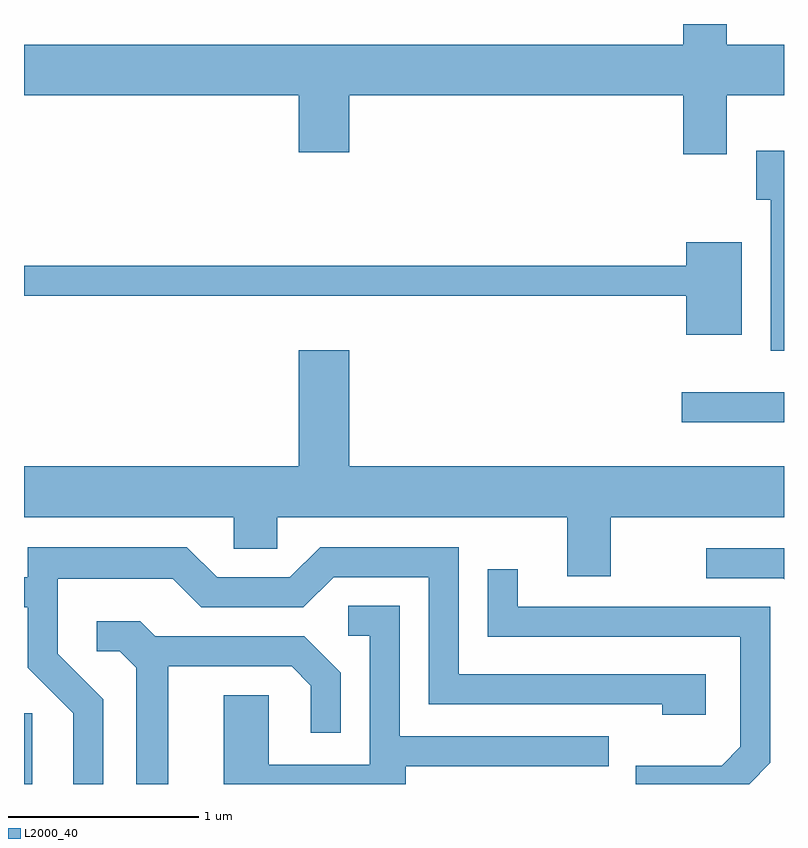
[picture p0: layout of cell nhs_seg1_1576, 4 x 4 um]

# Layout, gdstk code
import gdstk
lib = gdstk.Library(unit=1e-6, precision=1e-09)
def R(c, l, rs):  # rectangles x0, y0, x1, y1
    for r in rs: c.add(gdstk.rectangle(r[:2], r[2:], *l))
def P(c, l, *ps):  # polygons
    for p in ps: c.add(gdstk.Polygon(p, *l))
L2000_40 = (2000, 40)

nhs_seg1_1576 = lib.new_cell('nhs_seg1_1576')
R(nhs_seg1_1576, L2000_40, [(233.611,913.712,233.654,914.084), (237.073,915.616,237.611,915.774)])
P(nhs_seg1_1576, L2000_40, [(237.309,917.336),(237.611,917.336),(237.611,917.604),(237.309,917.604),(237.309,917.712),(237.081,917.712),(237.081,917.604),(233.611,917.604),(233.611,917.336),(235.056,917.336),(235.056,917.036),(235.324,917.036),(235.324,917.336),(237.081,917.336),(237.081,917.026),(237.309,917.026)],
  [(237.611,917.044),(237.466,917.044),(237.466,916.786),(237.541,916.786),(237.541,915.991),(237.611,915.991)],
  [(237.389,916.564),(237.096,916.564),(237.096,916.439),(233.611,916.439),(233.611,916.281),(237.096,916.281),(237.096,916.076),(237.389,916.076)],
  [(236.699,915.116),(237.611,915.116),(237.611,915.384),(235.324,915.384),(235.324,915.994),(235.056,915.994),(235.056,915.384),(233.611,915.384),(233.611,915.116),(234.716,915.116),(234.716,914.951),(234.944,914.951),(234.944,915.116),(236.471,915.116),(236.471,914.806),(236.699,914.806)],
  [(234.029,914.157),(233.789,914.397),(233.789,914.791),(234.394,914.791),(234.544,914.641),(235.082,914.641),(235.242,914.801),(235.741,914.801),(235.741,914.131),(236.971,914.131),(236.971,914.076),(237.199,914.076),(237.199,914.289),(235.899,914.289),(235.899,914.959),(235.169,914.959),(235.009,914.799),(234.627,914.799),(234.467,914.959),(233.631,914.959),(233.631,914.799),(233.611,914.799),(233.611,914.641),(233.631,914.641),(233.631,914.324),(233.871,914.084),(233.871,913.712),(234.029,913.712)],
  [(237.611,914.954),(237.203,914.954),(237.203,914.796),(237.604,914.796),(237.611,914.789)],
  [(237.539,913.824),(237.539,914.644),(236.209,914.644),(236.209,914.843),(236.051,914.843),(236.051,914.486),(237.381,914.486),(237.381,913.907),(237.284,913.809),(236.831,913.809),(236.831,913.712),(237.428,913.712)],
  [(235.619,913.806),(236.688,913.806),(236.688,913.964),(235.589,913.964),(235.589,914.649),(235.318,914.649),(235.318,914.491),(235.431,914.491),(235.431,913.814),(234.899,913.814),(234.899,914.179),(234.661,914.179),(234.661,913.712),(235.619,913.712)],
  [(234.369,914.331),(235.019,914.331),(235.121,914.229),(235.121,913.983),(235.279,913.983),(235.279,914.297),(235.087,914.489),(234.302,914.489),(234.222,914.569),(233.993,914.569),(233.993,914.411),(234.114,914.411),(234.201,914.324),(234.201,913.712),(234.369,913.712)])

lib.write_gds('nhs_seg1_1576.gds')
